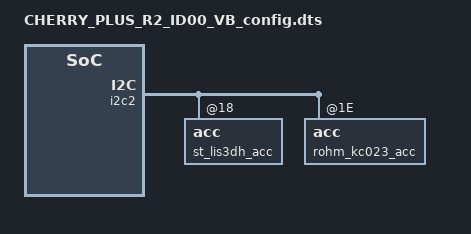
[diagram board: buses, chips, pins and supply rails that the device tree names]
/*
 *  Copyright (C) 2014 Hisilicon Ltd.
 *  Author: Bintian Wang <bintian.wang@huawei.com>
 *
 *  This program is free software; you can redistribute it and/or modify
 *  it under the terms of the GNU General Public License version 2 as
 *  publishhed by the Free Software Foundation.
 */

/dts-v1/;
/* NOTE:
 * The last reserved memory base is used in fastboot
 * Which should be the least reseve value
 */
/include/ "fastboot.dtsi"
/include/ "CHERRY_PLUS_R2_ED00_VB_config.dtsi"
/include/ "CHERRY_PLUS_R2_ID00_VB_pin.dtsi"
/include/ "CHERRY_PLUS_R2_ID00_VB_gpio_logic.dtsi"
/include/ "CHERRY_PLUS_R2_ID00_VB_pmic.dtsi"
/include/ "CHERRY_PLUS_R2_ID00_VB_charger.dtsi"
/ {
	hisi,boardid = <0 7 7 2>;
	hisi,boardname = "CHERRY_PLUS_R2_ID00_VB";
    	hisi,modem_id = <0x3D351D00>;
	hisi,product_name = "CHERRY_PLUS_ID00";

    
    boardinfo{
	factory_product_name = "HL4CHRPLSL11MAK";
	normal_product_name = "Che2-U04";
	};

    amba {
	i2c2: i2c@f7102000 {
			st_lis3dh_acc:acc@18{
				axis_map_x=<0>;
				axis_map_y=<1>;
				axis_map_z=<2>;
				negate_x=<0>;
				negate_y=<1>;
				negate_z=<1>;
				status = "ok";
			};
			rohm_kc023_acc:acc@1E{
				axis_map_x=<0>;
				axis_map_y=<1>;
				axis_map_z=<2>;
				negate_x=<0>;
				negate_y=<1>;
				negate_z=<1>;
				status = "ok";
			};
		};
	};
};
